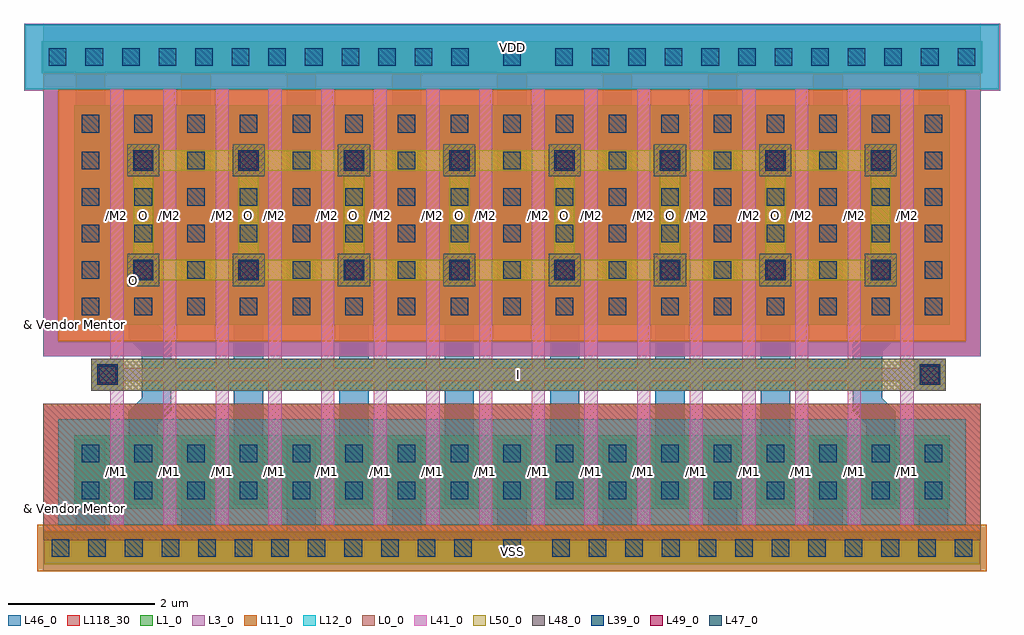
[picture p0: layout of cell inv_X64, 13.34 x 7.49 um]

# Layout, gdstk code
import gdstk
lib = gdstk.Library(unit=1e-6, precision=1e-09)
def R(c, l, rs):  # rectangles x0, y0, x1, y1
    for r in rs: c.add(gdstk.rectangle(r[:2], r[2:], *l))
def A(c, l, x, y, w, h, nx, ny, dx, dy):  # array of equal rectangles
    R(c, l, [(x+i*dx, y+j*dy, x+i*dx+w, y+j*dy+h) for i in range(nx) for j in range(ny)])
def P(c, l, *ps):  # polygons
    for p in ps: c.add(gdstk.Polygon(p, *l))
L0_0 = (0, 0)
L1_0 = (1, 0)
L3_0 = (3, 0)
L11_0 = (11, 0)
L12_0 = (12, 0)
L39_0 = (39, 0)
L41_0 = (41, 0)
L46_0 = (46, 0)
L47_0 = (47, 0)
L48_0 = (48, 0)
L49_0 = (49, 0)
L50_0 = (50, 0)
L118_30 = (118, 30)

m2m3 = lib.new_cell('M2M3')
R(m2m3, L48_0, [(-0.22,-0.22,0.22,0.22)])
R(m2m3, L49_0, [(-0.14,-0.14,0.14,0.14)])
R(m2m3, L50_0, [(-0.22,-0.22,0.22,0.22)])

m1m2 = lib.new_cell('M1M2')
R(m1m2, L46_0, [(-0.22,-0.22,0.22,0.22)])
R(m1m2, L47_0, [(-0.14,-0.14,0.14,0.14)])
R(m1m2, L48_0, [(-0.22,-0.22,0.22,0.22)])

mpoly = lib.new_cell('MPOLY')
R(mpoly, L39_0, [(-0.12,-0.12,0.12,0.12)])
R(mpoly, L41_0, [(-0.22,-0.22,0.22,0.22)])
R(mpoly, L46_0, [(-0.2,-0.2,0.2,0.2)])

inv_x64 = lib.new_cell('inv_X64')
R(inv_x64, L0_0, [(-3.51,-4.57,9.31,-2.71)])
R(inv_x64, L1_0, [(-3.49,-4.9,9.29,-4.46), (-3.08,-4.14,8.88,-3.14), (-3.08,-4.14,-2.59,-3.14), (8.39,-4.14,8.88,-3.14), (-3.08,-1.63,8.88,1.37), (-3.08,-1.63,-2.59,1.37), (8.39,-1.63,8.88,1.37), (-3.53,1.81,9.33,2.25)])
R(inv_x64, L3_0, [(-3.51,-2.06,9.31,1.8), (-3.77,1.57,9.57,2.49)])
R(inv_x64, L11_0, [(-3.59,-5,9.39,-4.36), (-3.3,-1.85,9.1,1.59)])
R(inv_x64, L12_0, [(-3.3,-4.36,9.1,-2.92), (-3.75,1.59,9.55,2.47)])
A(inv_x64, L39_0, -3.39, -4.8, 0.24, 0.24, 12, 1, 0.5, 0)
A(inv_x64, L39_0, 3.45, -4.8, 0.24, 0.24, 12, 1, 0.5, 0)
A(inv_x64, L39_0, -2.98, -4.01, 0.24, 0.24, 17, 2, 0.72, 0.5)
A(inv_x64, L39_0, -2.98, -1.5, 0.24, 0.24, 17, 6, 0.72, 0.5)
A(inv_x64, L39_0, -3.43, 1.91, 0.24, 0.24, 12, 1, 0.5, 0)
A(inv_x64, L39_0, 3.49, 1.91, 0.24, 0.24, 12, 1, 0.5, 0)
R(inv_x64, L39_0, [(2.78,-4.8,3.02,-4.56), (2.78,1.91,3.02,2.15)])
A(inv_x64, L41_0, -2.59, -4.36, 0.18, 0.22, 16, 2, 0.72, 1.22)
A(inv_x64, L41_0, -2.59, -4.14, 0.18, 1, 16, 1, 0.72, 0)
A(inv_x64, L41_0, -2.59, -3.1, 0.18, 1.43, 16, 1, 0.72, 0)
A(inv_x64, L41_0, -2.59, -1.85, 0.18, 0.22, 16, 2, 0.72, 3.22)
A(inv_x64, L41_0, -2.59, -1.63, 0.18, 3, 16, 1, 0.72, 0)
R(inv_x64, L41_0, [(-2.72,-2.4,-2.42,-2.22), (-2.59,-2.4,8.39,-2.22)])
A(inv_x64, L46_0, -3.06, -4.84, 0.4, 1.15, 9, 1, 1.44, 0)
A(inv_x64, L46_0, -3.06, -4.09, 0.4, 0.9, 17, 1, 0.72, 0)
A(inv_x64, L46_0, -0.9, -3.59, 0.4, 2.41, 6, 1, 1.44, 0)
A(inv_x64, L46_0, -3.06, -1.58, 0.4, 2.9, 17, 1, 0.72, 0)
A(inv_x64, L46_0, -3.06, 0.92, 0.4, 1.31, 9, 1, 1.44, 0)
R(inv_x64, L46_0, [(-3.51,-5,9.31,-4.44), (-3.51,-4.92,9.31,-4.44), (-2.16,-2.53,7.96,-2.1), (-3.51,1.83,9.31,2.23), (-3.51,1.83,9.31,2.49)])
P(inv_x64, L46_0, [(7.56,-2.81),(7.74,-2.99),(7.74,-3.59),(8.14,-3.59),(8.14,-2.81),(7.96,-2.63),(7.96,-1.99),(8.14,-1.81),(8.14,-1.18),(7.74,-1.18),(7.74,-1.63),(7.56,-1.81)],
  [(-2.34,-3.59),(-1.94,-3.59),(-1.94,-2.99),(-1.76,-2.81),(-1.76,-1.81),(-1.94,-1.63),(-1.94,-1.18),(-2.34,-1.18),(-2.34,-1.81),(-2.16,-1.99),(-2.16,-2.63),(-2.34,-2.81)])
R(inv_x64, L48_0, [(-2.85,-2.53,8.83,-2.09)])
A(inv_x64, L50_0, -2.28, -1.02, 0.28, 1.78, 7, 1, 1.44, 0)
R(inv_x64, L50_0, [(-2.85,-2.53,8.83,-2.09)])
P(inv_x64, L50_0, [(-2.28,-1.02),(8.08,-1.02),(8.08,0.76),(-2.28,0.76),(-2.28,0.48),(7.8,0.48),(7.8,-0.74),(-2.28,-0.74)])
R(inv_x64, L118_30, [(-3.51,-4.57,9.31,-2.71), (-3.51,-2.06,9.31,1.8)])
inv_x64.add(gdstk.Reference(m2m3, (3.62,-0.88)))
inv_x64.add(gdstk.Reference(m1m2, (3.62,0.62)))
inv_x64.add(gdstk.Reference(m2m3, (3.62,0.62)))
inv_x64.add(gdstk.Reference(m1m2, (5.06,-0.88)))
inv_x64.add(gdstk.Reference(m2m3, (5.06,-0.88)))
inv_x64.add(gdstk.Reference(m1m2, (5.06,0.62)))
inv_x64.add(gdstk.Reference(m2m3, (5.06,0.62)))
inv_x64.add(gdstk.Reference(m1m2, (6.5,-0.88)))
inv_x64.add(gdstk.Reference(m2m3, (0.74,-0.88)))
inv_x64.add(gdstk.Reference(m1m2, (0.74,0.62)))
inv_x64.add(gdstk.Reference(m2m3, (0.74,0.62)))
inv_x64.add(gdstk.Reference(m1m2, (2.18,-0.88)))
inv_x64.add(gdstk.Reference(m2m3, (2.18,-0.88)))
inv_x64.add(gdstk.Reference(m1m2, (2.18,0.62)))
inv_x64.add(gdstk.Reference(m2m3, (2.18,0.62)))
inv_x64.add(gdstk.Reference(m2m3, (6.5,-0.88)))
inv_x64.add(gdstk.Reference(m1m2, (6.5,0.62)))
inv_x64.add(gdstk.Reference(m2m3, (6.5,0.62)))
inv_x64.add(gdstk.Reference(m1m2, (7.94,-0.88)))
inv_x64.add(gdstk.Reference(m2m3, (7.94,-0.88)))
inv_x64.add(gdstk.Reference(m1m2, (7.94,0.62)))
inv_x64.add(gdstk.Reference(m2m3, (7.94,0.62)))
inv_x64.add(gdstk.Reference(m1m2, (3.62,-0.88)))
inv_x64.add(gdstk.Reference(m2m3, (-2.63,-2.31)))
inv_x64.add(gdstk.Reference(mpoly, (-2.63,-2.31)))
inv_x64.add(gdstk.Reference(m1m2, (-2.63,-2.31)))
inv_x64.add(gdstk.Reference(m2m3, (8.61,-2.31)))
inv_x64.add(gdstk.Reference(mpoly, (8.61,-2.31)))
inv_x64.add(gdstk.Reference(m1m2, (8.61,-2.31)))
inv_x64.add(gdstk.Reference(m1m2, (-2.14,-0.88)))
inv_x64.add(gdstk.Reference(m2m3, (-2.14,-0.88)))
inv_x64.add(gdstk.Reference(m1m2, (-2.14,0.62)))
inv_x64.add(gdstk.Reference(m2m3, (-2.14,0.62)))
inv_x64.add(gdstk.Reference(m1m2, (-0.7,-0.88)))
inv_x64.add(gdstk.Reference(m2m3, (-0.7,-0.88)))
inv_x64.add(gdstk.Reference(m1m2, (-0.7,0.62)))
inv_x64.add(gdstk.Reference(m2m3, (-0.7,0.62)))
inv_x64.add(gdstk.Reference(m1m2, (0.74,-0.88)))
inv_x64.add(gdstk.Label('/M2', (-2.5,-0.13), layer=85, texttype=0))
inv_x64.add(gdstk.Label('/M2', (-1.78,-0.13), layer=85, texttype=0))
inv_x64.add(gdstk.Label('/M2', (-1.06,-0.13), layer=85, texttype=0))
inv_x64.add(gdstk.Label('/M2', (-0.34,-0.13), layer=85, texttype=0))
inv_x64.add(gdstk.Label('/M2', (0.38,-0.13), layer=85, texttype=0))
inv_x64.add(gdstk.Label('/M2', (1.1,-0.13), layer=85, texttype=0))
inv_x64.add(gdstk.Label('/M2', (1.82,-0.13), layer=85, texttype=0))
inv_x64.add(gdstk.Label('/M2', (2.54,-0.13), layer=85, texttype=0))
inv_x64.add(gdstk.Label('/M2', (3.26,-0.13), layer=85, texttype=0))
inv_x64.add(gdstk.Label('/M2', (3.98,-0.13), layer=85, texttype=0))
inv_x64.add(gdstk.Label('/M2', (4.7,-0.13), layer=85, texttype=0))
inv_x64.add(gdstk.Label('/M2', (5.42,-0.13), layer=85, texttype=0))
inv_x64.add(gdstk.Label('/M2', (6.14,-0.13), layer=85, texttype=0))
inv_x64.add(gdstk.Label('/M2', (6.86,-0.13), layer=85, texttype=0))
inv_x64.add(gdstk.Label('/M2', (7.58,-0.13), layer=85, texttype=0))
inv_x64.add(gdstk.Label('/M2', (8.3,-0.13), layer=85, texttype=0))
inv_x64.add(gdstk.Label('& Vendor Mentor', (-3.08,-1.63), layer=63, texttype=63))
inv_x64.add(gdstk.Label('& Product UMC180FDKMFM', (-3.08,-1.63), layer=63, texttype=63))
inv_x64.add(gdstk.Label('& Version A01', (-3.08,-1.63), layer=63, texttype=63))
inv_x64.add(gdstk.Label('& Metric 0', (-3.08,-1.63), layer=63, texttype=63))
inv_x64.add(gdstk.Label('& _PublicCode', (-3.08,-1.63), layer=63, texttype=63))
inv_x64.add(gdstk.Label('/M1', (-2.5,-3.64), layer=85, texttype=0))
inv_x64.add(gdstk.Label('/M1', (-1.78,-3.64), layer=85, texttype=0))
inv_x64.add(gdstk.Label('/M1', (-1.06,-3.64), layer=85, texttype=0))
inv_x64.add(gdstk.Label('/M1', (-0.34,-3.64), layer=85, texttype=0))
inv_x64.add(gdstk.Label('/M1', (0.38,-3.64), layer=85, texttype=0))
inv_x64.add(gdstk.Label('/M1', (1.1,-3.64), layer=85, texttype=0))
inv_x64.add(gdstk.Label('/M1', (1.82,-3.64), layer=85, texttype=0))
inv_x64.add(gdstk.Label('/M1', (2.54,-3.64), layer=85, texttype=0))
inv_x64.add(gdstk.Label('/M1', (3.26,-3.64), layer=85, texttype=0))
inv_x64.add(gdstk.Label('/M1', (3.98,-3.64), layer=85, texttype=0))
inv_x64.add(gdstk.Label('/M1', (4.7,-3.64), layer=85, texttype=0))
inv_x64.add(gdstk.Label('/M1', (5.42,-3.64), layer=85, texttype=0))
inv_x64.add(gdstk.Label('/M1', (6.14,-3.64), layer=85, texttype=0))
inv_x64.add(gdstk.Label('/M1', (6.86,-3.64), layer=85, texttype=0))
inv_x64.add(gdstk.Label('/M1', (7.58,-3.64), layer=85, texttype=0))
inv_x64.add(gdstk.Label('/M1', (8.3,-3.64), layer=85, texttype=0))
inv_x64.add(gdstk.Label('& Vendor Mentor', (-3.08,-4.14), layer=63, texttype=63))
inv_x64.add(gdstk.Label('& Product UMC180FDKMFM', (-3.08,-4.14), layer=63, texttype=63))
inv_x64.add(gdstk.Label('& Version A01', (-3.08,-4.14), layer=63, texttype=63))
inv_x64.add(gdstk.Label('& Metric 0', (-3.08,-4.14), layer=63, texttype=63))
inv_x64.add(gdstk.Label('& _PublicCode', (-3.08,-4.14), layer=63, texttype=63))
inv_x64.add(gdstk.Label('I', (2.99,-2.31), layer=103, texttype=0))
inv_x64.add(gdstk.Label('O', (0.74,-0.13), layer=103, texttype=0))
inv_x64.add(gdstk.Label('O', (2.18,-0.13), layer=103, texttype=0))
inv_x64.add(gdstk.Label('O', (3.62,-0.13), layer=103, texttype=0))
inv_x64.add(gdstk.Label('O', (5.06,-0.13), layer=103, texttype=0))
inv_x64.add(gdstk.Label('O', (-0.7,-0.13), layer=103, texttype=0))
inv_x64.add(gdstk.Label('O', (6.5,-0.13), layer=103, texttype=0))
inv_x64.add(gdstk.Label('O', (-2.14,-0.13), layer=103, texttype=0))
inv_x64.add(gdstk.Label('O', (-2.28,-1.02), layer=103, texttype=0))
inv_x64.add(gdstk.Label('VSS', (2.9,-4.72), layer=101, texttype=0))
inv_x64.add(gdstk.Label('VDD', (2.9,2.16), layer=101, texttype=0))

lib.write_gds('inv_X64.gds')
